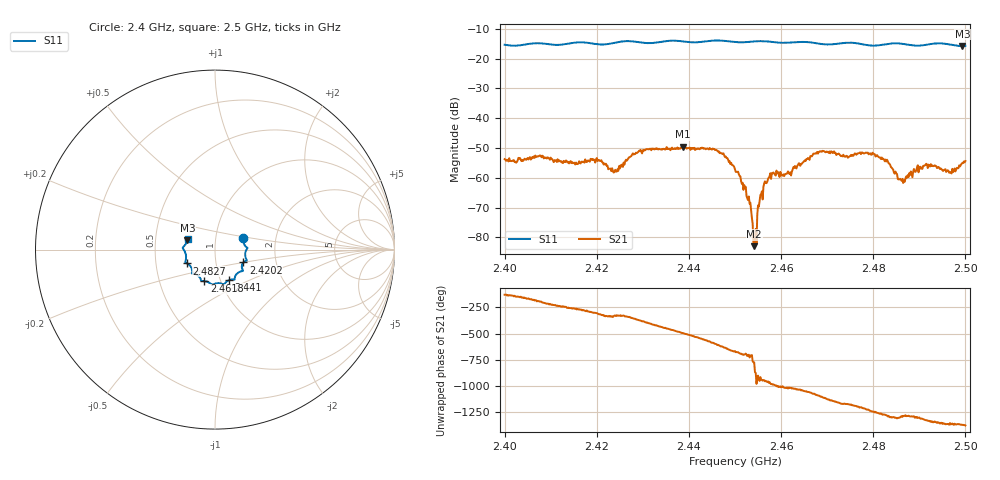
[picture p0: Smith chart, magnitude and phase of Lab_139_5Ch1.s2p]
# Hz S RI R 50
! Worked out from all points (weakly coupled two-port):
!   601 points, 2.4 GHz to 2.5 GHz, reference 50 ohm
!   highest |S21| = -49.58 dB at 2.4387 GHz (marker M1); lowest = -82.9 dB at 2.4542 GHz (marker M2)
!   lowest |S11| = -15.8 dB at 2.4993 GHz (marker M3), VSWR 1.39, Z = 36.5 + j3.85 ohm
!   |S11| at or under -10 dB: start of sweep to end of sweep
!   S12 and S22 are empty: the file has one direction only
!   S11 on the Smith chart (normalised r, x): 2.4 GHz: 1.36, +0.18; 2.4202 GHz: 1.36, -0.20; 2.441 GHz: 1.10, -0.39; 2.4618 GHz: 0.84, -0.30; 2.4827 GHz: 0.72, -0.11; 2.5 GHz: 0.73, +0.09
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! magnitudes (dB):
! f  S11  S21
! 2.4 GHz  -15.4  -53.7
! 2.4167 GHz  -14.5  -54.6
! 2.4202 GHz  -15.2  -54.4
! 2.4242 GHz  -14.6  -57.9
! 2.429 GHz  -14.5  -51.4
! 2.4333 GHz  -14.5  -50.5
! 2.4387 GHz  -14.2  -49.6
! 2.441 GHz  -14.6  -50.3
! 2.4457 GHz  -13.9  -50.7
! 2.45 GHz  -14.4  -57.2
! 2.4528 GHz  -14.4  -67.5
! 2.4542 GHz  -14.3  -82.9
! 2.4553 GHz  -14.2  -67.9
! 2.4568 GHz  -14.2  -61.8
! 2.4618 GHz  -14.6  -58.7
! 2.4667 GHz  -14.6  -52.8
! 2.4827 GHz  -15.2  -53.9
! 2.4833 GHz  -15.0  -55.1
! 2.4863 GHz  -15.0  -60.4
! 2.4912 GHz  -15.5  -55.8
! 2.4993 GHz  -15.8  -55.1
! 2.5 GHz  -15.7  -54.4
